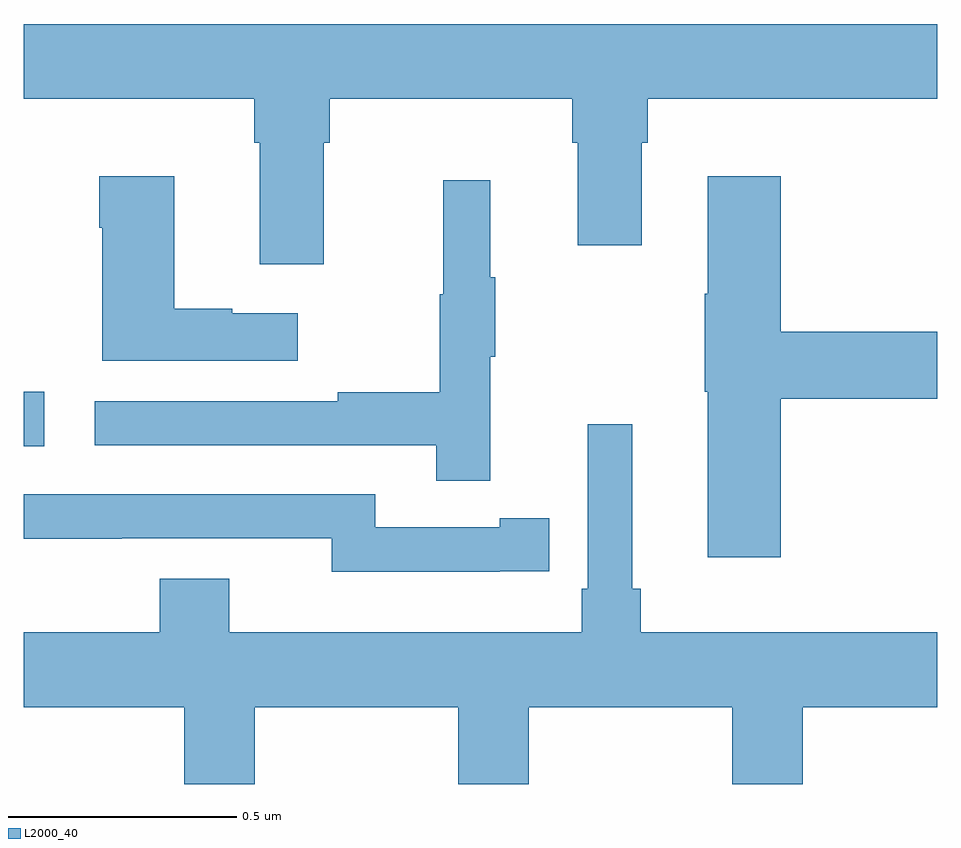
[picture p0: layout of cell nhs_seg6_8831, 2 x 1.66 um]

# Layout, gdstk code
import gdstk
lib = gdstk.Library(unit=1e-6, precision=1e-09)
def R(c, l, rs):  # rectangles x0, y0, x1, y1
    for r in rs: c.add(gdstk.rectangle(r[:2], r[2:], *l))
def P(c, l, *ps):  # polygons
    for p in ps: c.add(gdstk.Polygon(p, *l))
L2000_40 = (2000, 40)

nhs_seg6_8831 = lib.new_cell('nhs_seg6_8831')
R(nhs_seg6_8831, L2000_40, [(226,949.239,226.045,949.359)])
P(nhs_seg6_8831, L2000_40, [(226.657,949.904),(226.67,949.904),(226.67,950),(227.201,950),(227.201,949.904),(227.213,949.904),(227.213,949.68),(227.353,949.68),(227.353,949.904),(227.366,949.904),(227.366,950),(228,950),(228,950.164),(226,950.164),(226,950),(226.505,950),(226.505,949.904),(226.517,949.904),(226.517,949.638),(226.657,949.638)],
  [(227.657,949.343),(228,949.343),(228,949.49),(227.657,949.49),(227.657,949.831),(227.498,949.831),(227.498,949.573),(227.491,949.573),(227.491,949.359),(227.498,949.359),(227.498,948.996),(227.657,948.996)],
  [(226.6,949.531),(226.457,949.531),(226.457,949.541),(226.33,949.541),(226.33,949.831),(226.165,949.831),(226.165,949.718),(226.172,949.718),(226.172,949.427),(226.6,949.427)],
  [(227.021,949.435),(227.032,949.435),(227.032,949.609),(227.021,949.609),(227.021,949.822),(226.918,949.822),(226.918,949.572),(226.911,949.572),(226.911,949.358),(226.687,949.358),(226.687,949.338),(226.155,949.338),(226.155,949.242),(226.903,949.242),(226.903,949.164),(227.021,949.164)],
  [(226.506,948.668),(226.951,948.668),(226.951,948.5),(227.106,948.5),(227.106,948.668),(227.551,948.668),(227.551,948.5),(227.706,948.5),(227.706,948.668),(228,948.668),(228,948.832),(227.351,948.832),(227.351,948.928),(227.332,948.928),(227.332,949.288),(227.235,949.288),(227.235,948.928),(227.222,948.928),(227.222,948.832),(226.45,948.832),(226.45,948.949),(226.298,948.949),(226.298,948.832),(226,948.832),(226,948.668),(226.351,948.668),(226.351,948.5),(226.506,948.5)],
  [(227.042,948.966),(227.15,948.966),(227.15,949.082),(227.042,949.082),(227.042,949.062),(226.77,949.062),(226.77,949.134),(226,949.134),(226,949.037),(226.214,949.037),(226.214,949.038),(226.674,949.038),(226.674,948.965),(227.042,948.965)])

lib.write_gds('nhs_seg6_8831.gds')
